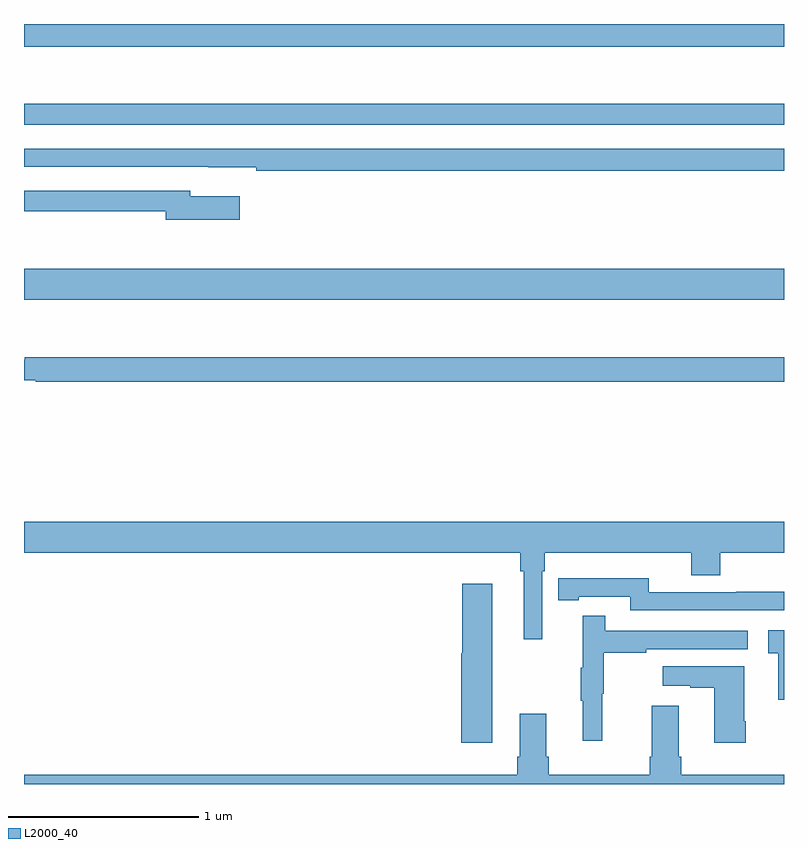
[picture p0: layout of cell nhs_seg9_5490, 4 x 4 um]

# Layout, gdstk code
import gdstk
lib = gdstk.Library(unit=1e-6, precision=1e-09)
def R(c, l, rs):  # rectangles x0, y0, x1, y1
    for r in rs: c.add(gdstk.rectangle(r[:2], r[2:], *l))
def P(c, l, *ps):  # polygons
    for p in ps: c.add(gdstk.Polygon(p, *l))
L2000_40 = (2000, 40)

nhs_seg9_5490 = lib.new_cell('nhs_seg9_5490')
R(nhs_seg9_5490, L2000_40, [(429,1235.048,433,1235.212), (429,1235.97,433,1236.079), (429,1236.38,433,1236.5)])
P(nhs_seg9_5490, L2000_40, [(433,1235.844),(429,1235.844),(429,1235.748),(429.97,1235.748),(429.97,1235.747),(430.222,1235.747),(430.222,1235.728),(433,1235.728)],
  [(430.135,1235.593),(429.874,1235.593),(429.874,1235.622),(429,1235.622),(429,1235.514),(429.746,1235.514),(429.746,1235.471),(430.135,1235.471)],
  [(433,1234.747),(429.004,1234.747),(429.004,1234.734),(429,1234.734),(429,1234.626),(429.062,1234.626),(429.062,1234.618),(433,1234.618)],
  [(431.727,1233.62),(431.741,1233.62),(431.741,1233.716),(432.512,1233.716),(432.512,1233.599),(432.665,1233.599),(432.665,1233.716),(433,1233.716),(433,1233.88),(429,1233.88),(429,1233.716),(431.611,1233.716),(431.611,1233.62),(431.63,1233.62),(431.63,1233.261),(431.727,1233.261)],
  [(433,1233.512),(432.748,1233.512),(432.748,1233.51),(432.288,1233.51),(432.288,1233.583),(431.92,1233.583),(431.92,1233.582),(431.812,1233.582),(431.812,1233.466),(431.92,1233.466),(431.92,1233.486),(432.192,1233.486),(432.192,1233.414),(433,1233.414)],
  [(431.464,1233.553),(431.306,1233.553),(431.306,1233.189),(431.3,1233.189),(431.3,1232.718),(431.464,1232.718)],
  [(432.044,1232.976),(432.052,1232.976),(432.052,1233.19),(432.275,1233.19),(432.275,1233.21),(432.808,1233.21),(432.808,1233.306),(432.059,1233.306),(432.059,1233.385),(431.942,1233.385),(431.942,1233.113),(431.931,1233.113),(431.931,1232.939),(431.942,1232.939),(431.942,1232.727),(432.044,1232.727)],
  [(433,1233.31),(432.918,1233.31),(432.918,1233.189),(432.971,1233.189),(432.971,1232.943),(433,1232.943)],
  [(432.798,1232.83),(432.79,1232.83),(432.79,1233.121),(432.363,1233.121),(432.363,1233.017),(432.506,1233.017),(432.506,1233.007),(432.632,1233.007),(432.632,1232.718),(432.798,1232.718)],
  [(433,1232.548),(432.458,1232.548),(432.458,1232.644),(432.445,1232.644),(432.445,1232.911),(432.305,1232.911),(432.305,1232.644),(432.293,1232.644),(432.293,1232.548),(431.762,1232.548),(431.762,1232.644),(431.749,1232.644),(431.749,1232.869),(431.609,1232.869),(431.609,1232.644),(431.597,1232.644),(431.597,1232.548),(429,1232.548),(429,1232.5),(433,1232.5)])

lib.write_gds('nhs_seg9_5490.gds')
